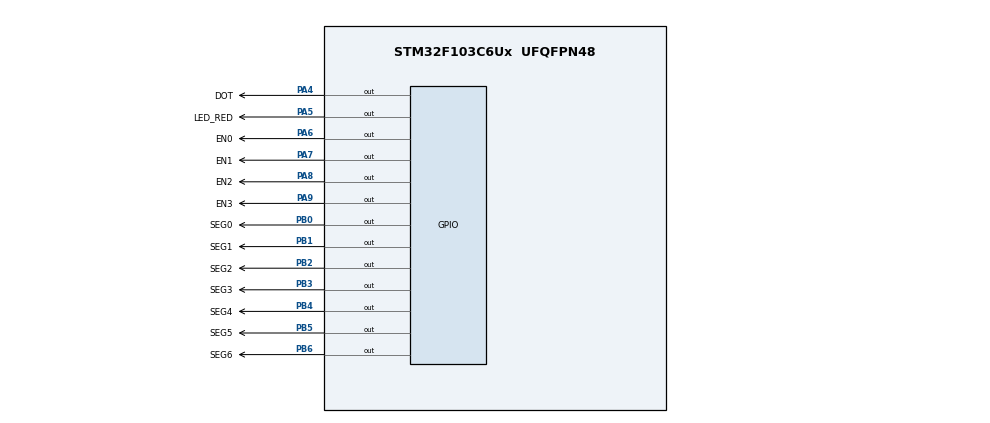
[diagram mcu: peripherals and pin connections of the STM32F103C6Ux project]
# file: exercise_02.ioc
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Mcu.Family=STM32F1
Mcu.Name=STM32F103C6Ux
Mcu.Package=UFQFPN48
NVIC.PriorityGroup=NVIC_PRIORITYGROUP_4
NVIC.TIM2_IRQn=true\:0\:0\:false\:false\:true\:true\:true\:true
PA4.GPIO_Label=DOT
PA4.Signal=GPIO_Output
PA5.GPIO_Label=LED_RED
PA5.Signal=GPIO_Output
PA6.GPIO_Label=EN0
PA6.Signal=GPIO_Output
PA7.GPIO_Label=EN1
PA7.Signal=GPIO_Output
PA8.GPIO_Label=EN2
PA8.Signal=GPIO_Output
PA9.GPIO_Label=EN3
PA9.Signal=GPIO_Output
PB0.GPIO_Label=SEG0
PB0.Signal=GPIO_Output
PB1.GPIO_Label=SEG1
PB1.Signal=GPIO_Output
PB2.GPIO_Label=SEG2
PB2.Signal=GPIO_Output
PB3.GPIO_Label=SEG3
PB3.Signal=GPIO_Output
PB4.GPIO_Label=SEG4
PB4.Signal=GPIO_Output
PB5.GPIO_Label=SEG5
PB5.Signal=GPIO_Output
PB6.GPIO_Label=SEG6
PB6.Signal=GPIO_Output
ProjectManager.HeapSize=0x200
ProjectManager.StackSize=0x400
ProjectManager.TargetToolchain=CMake
RCC.APB1Freq_Value=8000000
RCC.APB2Freq_Value=8000000
TIM2.Prescaler=7999
VP_SYS_VS_ND.Mode=No_Debug
VP_TIM2_VS_ClockSourceINT.Mode=Internal
board=custom

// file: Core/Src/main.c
/* USER CODE BEGIN Header */
/**
 ******************************************************************************
 * @file           : main.c
 * @brief          : Main program body
 ******************************************************************************
 * @attention
 *
 * Copyright (c) 2025 STMicroelectronics.
 * All rights reserved.
 *
 * This software is licensed under terms that can be found in the LICENSE file
 * in the root directory of this software component.
 * If no LICENSE file comes with this software, it is provided AS-IS.
 *
 ******************************************************************************
 */
/* USER CODE END Header */
#include "main.h"

TIM_HandleTypeDef htim2;

/* USER CODE BEGIN PV */
int hour = 11;
int minute = 8;
int second = 0;

const int MAX_LED = 4;
int index_led = 0;
int led_buffer[4] = {0, 0, 0, 0};
/* USER CODE END PV */

void SystemClock_Config(void);
static void MX_GPIO_Init(void);
static void MX_TIM2_Init(void);

/* USER CODE BEGIN 0 */
/**
 * @brief  Displays a single digit (0-9) on a 7-segment display by controlling the segment pins.
 * @param  num: The digit to display (0-9).
 * @retval None
 */
static inline void display7SEG(int num)
{
    switch (num)
    {
    case 0: // A B C D E F ON, G OFF
        HAL_GPIO_WritePin(SEG0_GPIO_Port, SEG0_Pin, GPIO_PIN_RESET);
        HAL_GPIO_WritePin(SEG1_GPIO_Port, SEG1_Pin, GPIO_PIN_RESET);
        HAL_GPIO_WritePin(SEG2_GPIO_Port, SEG2_Pin, GPIO_PIN_RESET);
        HAL_GPIO_WritePin(SEG3_GPIO_Port, SEG3_Pin, GPIO_PIN_RESET);
        HAL_GPIO_WritePin(SEG4_GPIO_Port, SEG4_Pin, GPIO_PIN_RESET);
        HAL_GPIO_WritePin(SEG5_GPIO_Port, SEG5_Pin, GPIO_PIN_RESET);
        HAL_GPIO_WritePin(SEG6_GPIO_Port, SEG6_Pin, GPIO_PIN_SET);
        break;
    case 1: // B C ON
        HAL_GPIO_WritePin(SEG0_GPIO_Port, SEG0_Pin, GPIO_PIN_SET);
        HAL_GPIO_WritePin(SEG1_GPIO_Port, SEG1_Pin, GPIO_PIN_RESET);
        HAL_GPIO_WritePin(SEG2_GPIO_Port, SEG2_Pin, GPIO_PIN_RESET);
        HAL_GPIO_WritePin(SEG3_GPIO_Port, SEG3_Pin, GPIO_PIN_SET);
        HAL_GPIO_WritePin(SEG4_GPIO_Port, SEG4_Pin, GPIO_PIN_SET);
        HAL_GPIO_WritePin(SEG5_GPIO_Port, SEG5_Pin, GPIO_PIN_SET);
        HAL_GPIO_WritePin(SEG6_GPIO_Port, SEG6_Pin, GPIO_PIN_SET);
        break;
    case 2: // A B D E G ON
        HAL_GPIO_WritePin(SEG0_GPIO_Port, SEG0_Pin, GPIO_PIN_RESET);
        HAL_GPIO_WritePin(SEG1_GPIO_Port, SEG1_Pin, GPIO_PIN_RESET);
        HAL_GPIO_WritePin(SEG2_GPIO_Port, SEG2_Pin, GPIO_PIN_SET);
        HAL_GPIO_WritePin(SEG3_GPIO_Port, SEG3_Pin, GPIO_PIN_RESET);
        HAL_GPIO_WritePin(SEG4_GPIO_Port, SEG4_Pin, GPIO_PIN_RESET);
        HAL_GPIO_WritePin(SEG5_GPIO_Port, SEG5_Pin, GPIO_PIN_SET);
        HAL_GPIO_WritePin(SEG6_GPIO_Port, SEG6_Pin, GPIO_PIN_RESET);
        break;
    case 3: // A B C D G ON
        HAL_GPIO_WritePin(SEG0_GPIO_Port, SEG0_Pin, GPIO_PIN_RESET);
        HAL_GPIO_WritePin(SEG1_GPIO_Port, SEG1_Pin, GPIO_PIN_RESET);
        HAL_GPIO_WritePin(SEG2_GPIO_Port, SEG2_Pin, GPIO_PIN_RESET);
        HAL_GPIO_WritePin(SEG3_GPIO_Port, SEG3_Pin, GPIO_PIN_RESET);
        HAL_GPIO_WritePin(SEG4_GPIO_Port, SEG4_Pin, GPIO_PIN_SET);
        HAL_GPIO_WritePin(SEG5_GPIO_Port, SEG5_Pin, GPIO_PIN_SET);
        HAL_GPIO_WritePin(SEG6_GPIO_Port, SEG6_Pin, GPIO_PIN_RESET);
        break;
    case 4: // B C F G ON
        HAL_GPIO_WritePin(SEG0_GPIO_Port, SEG0_Pin, GPIO_PIN_SET);
        HAL_GPIO_WritePin(SEG1_GPIO_Port, SEG1_Pin, GPIO_PIN_RESET);
        HAL_GPIO_WritePin(SEG2_GPIO_Port, SEG2_Pin, GPIO_PIN_RESET);
        HAL_GPIO_WritePin(SEG3_GPIO_Port, SEG3_Pin, GPIO_PIN_SET);
        HAL_GPIO_WritePin(SEG4_GPIO_Port, SEG4_Pin, GPIO_PIN_SET);
        HAL_GPIO_WritePin(SEG5_GPIO_Port, SEG5_Pin, GPIO_PIN_RESET);
        HAL_GPIO_WritePin(SEG6_GPIO_Port, SEG6_Pin, GPIO_PIN_RESET);
        break;
    case 5: // A C D F G ON
        HAL_GPIO_WritePin(SEG0_GPIO_Port, SEG0_Pin, GPIO_PIN_RESET);
        HAL_GPIO_WritePin(SEG1_GPIO_Port, SEG1_Pin, GPIO_PIN_SET);
        HAL_GPIO_WritePin(SEG2_GPIO_Port, SEG2_Pin, GPIO_PIN_RESET);
        HAL_GPIO_WritePin(SEG3_GPIO_Port, SEG3_Pin, GPIO_PIN_RESET);
        HAL_GPIO_WritePin(SEG4_GPIO_Port, SEG4_Pin, GPIO_PIN_SET);
        HAL_GPIO_WritePin(SEG5_GPIO_Port, SEG5_Pin, GPIO_PIN_RESET);
        HAL_GPIO_WritePin(SEG6_GPIO_Port, SEG6_Pin, GPIO_PIN_RESET);
        break;
    case 6: // A C D E F G ON
        HAL_GPIO_WritePin(SEG0_GPIO_Port, SEG0_Pin, GPIO_PIN_RESET);
        HAL_GPIO_WritePin(SEG1_GPIO_Port, SEG1_Pin, GPIO_PIN_SET);
        HAL_GPIO_WritePin(SEG2_GPIO_Port, SEG2_Pin, GPIO_PIN_RESET);
        HAL_GPIO_WritePin(SEG3_GPIO_Port, SEG3_Pin, GPIO_PIN_RESET);
        HAL_GPIO_WritePin(SEG4_GPIO_Port, SEG4_Pin, GPIO_PIN_RESET);
        HAL_GPIO_WritePin(SEG5_GPIO_Port, SEG5_Pin, GPIO_PIN_RESET);
        HAL_GPIO_WritePin(SEG6_GPIO_Port, SEG6_Pin, GPIO_PIN_RESET);
        break;
    case 7: // A B C ON
        HAL_GPIO_WritePin(SEG0_GPIO_Port, SEG0_Pin, GPIO_PIN_RESET);
        HAL_GPIO_WritePin(SEG1_GPIO_Port, SEG1_Pin, GPIO_PIN_RESET);
        HAL_GPIO_WritePin(SEG2_GPIO_Port, SEG2_Pin, GPIO_PIN_RESET);
        HAL_GPIO_WritePin(SEG3_GPIO_Port, SEG3_Pin, GPIO_PIN_SET);
        HAL_GPIO_WritePin(SEG4_GPIO_Port, SEG4_Pin, GPIO_PIN_SET);
        HAL_GPIO_WritePin(SEG5_GPIO_Port, SEG5_Pin, GPIO_PIN_SET);
        HAL_GPIO_WritePin(SEG6_GPIO_Port, SEG6_Pin, GPIO_PIN_SET);
        break;
    case 8: // A B C D E F G ON
        HAL_GPIO_WritePin(SEG0_GPIO_Port, SEG0_Pin, GPIO_PIN_RESET);
        HAL_GPIO_WritePin(SEG1_GPIO_Port, SEG1_Pin, GPIO_PIN_RESET);
        HAL_GPIO_WritePin(SEG2_GPIO_Port, SEG2_Pin, GPIO_PIN_RESET);
        HAL_GPIO_WritePin(SEG3_GPIO_Port, SEG3_Pin, GPIO_PIN_RESET);
        HAL_GPIO_WritePin(SEG4_GPIO_Port, SEG4_Pin, GPIO_PIN_RESET);
        HAL_GPIO_WritePin(SEG5_GPIO_Port, SEG5_Pin, GPIO_PIN_RESET);
        HAL_GPIO_WritePin(SEG6_GPIO_Port, SEG6_Pin, GPIO_PIN_RESET);
        break;
    case 9: // A B C D F G ON
        HAL_GPIO_WritePin(SEG0_GPIO_Port, SEG0_Pin, GPIO_PIN_RESET);
        HAL_GPIO_WritePin(SEG1_GPIO_Port, SEG1_Pin, GPIO_PIN_RESET);
        HAL_GPIO_WritePin(SEG2_GPIO_Port, SEG2_Pin, GPIO_PIN_RESET);
        HAL_GPIO_WritePin(SEG3_GPIO_Port, SEG3_Pin, GPIO_PIN_RESET);
        HAL_GPIO_WritePin(SEG4_GPIO_Port, SEG4_Pin, GPIO_PIN_SET);
        HAL_GPIO_WritePin(SEG5_GPIO_Port, SEG5_Pin, GPIO_PIN_RESET);
        HAL_GPIO_WritePin(SEG6_GPIO_Port, SEG6_Pin, GPIO_PIN_RESET);
        break;
    default: // All OFF
        HAL_GPIO_WritePin(SEG0_GPIO_Port, SEG0_Pin, GPIO_PIN_SET);
        HAL_GPIO_WritePin(SEG1_GPIO_Port, SEG1_Pin, GPIO_PIN_SET);
        HAL_GPIO_WritePin(SEG2_GPIO_Port, SEG2_Pin, GPIO_PIN_SET);
        HAL_GPIO_WritePin(SEG3_GPIO_Port, SEG3_Pin, GPIO_PIN_SET);
        HAL_GPIO_WritePin(SEG4_GPIO_Port, SEG4_Pin, GPIO_PIN_SET);
        HAL_GPIO_WritePin(SEG5_GPIO_Port, SEG5_Pin, GPIO_PIN_SET);
        HAL_GPIO_WritePin(SEG6_GPIO_Port, SEG6_Pin, GPIO_PIN_SET);
        break;
    }
}

/**
 * @brief  Disables all 7-segment displays by setting their enable pins high.
 * @retval None
 */
static inline void disable_all_7seg(void)
{
    HAL_GPIO_WritePin(EN0_GPIO_Port, EN0_Pin, GPIO_PIN_SET);
    HAL_GPIO_WritePin(EN1_GPIO_Port, EN1_Pin, GPIO_PIN_SET);
    HAL_GPIO_WritePin(EN2_GPIO_Port, EN2_Pin, GPIO_PIN_SET);
    HAL_GPIO_WritePin(EN3_GPIO_Port, EN3_Pin, GPIO_PIN_SET);
}

/**
 * @brief  Enables the specified 7-segment display based on the given index.
 * @param  idx: The index of the 7-segment display to enable (0 to 3).
 * @retval None
 */
static inline void enable_7seg_idx(uint8_t idx)
{
    switch (idx)
    {
    case 0:
        HAL_GPIO_WritePin(EN0_GPIO_Port, EN0_Pin, GPIO_PIN_RESET);
        break;
    case 1:
        HAL_GPIO_WritePin(EN1_GPIO_Port, EN1_Pin, GPIO_PIN_RESET);
        break;
    case 2:
        HAL_GPIO_WritePin(EN2_GPIO_Port, EN2_Pin, GPIO_PIN_RESET);
        break;
    case 3:
        HAL_GPIO_WritePin(EN3_GPIO_Port, EN3_Pin, GPIO_PIN_RESET);
        break;
    }
}

/**
 * @brief  Updates the specified 7-segment display with the corresponding value from led_buffer.
 * @param  index: The index of the 7-segment display to update (0 to 3).
 * @retval None
 */
void update7SEG(int index)
{
    // First, turn off all segment drivers to prevent "ghosting"
    disable_all_7seg();

    // Use the index to select which 7-segment display to activate
    // and which number from the buffer to show.
    switch (index)
    {
    case 0:
        // Display the first number (led_buffer[0]) on the first 7-segment display
        display7SEG(led_buffer[0]);
        enable_7seg_idx(0);
        break;

    case 1:
        // Display the second number (led_buffer[1]) on the second 7-segment display
        display7SEG(led_buffer[1]);
        enable_7seg_idx(1);
        break;

    case 2:
        // Display the third number (led_buffer[2]) on the third 7-segment display
        display7SEG(led_buffer[2]);
        enable_7seg_idx(2);
        break;

    case 3:
        // Display the fourth number (led_buffer[3]) on the fourth 7-segment display
        display7SEG(led_buffer[3]);
        enable_7seg_idx(3);
        break;

    default:
        break;
    }
}

/**
 * @brief  Populates the led_buffer array with the correct digits for the clock.
 * @retval None
 */
void updateClockBuffer()
{
    led_buffer[0] = hour / 10;
    led_buffer[1] = hour % 10;

    led_buffer[2] = minute / 10;
    led_buffer[3] = minute % 10;
}

int timer_counter = 0;
int timer0_flag = 0;
int TIMER_PERIOD = 10;

void setTimer0(int duration)
{
    timer_counter = duration / TIMER_PERIOD;
    timer0_flag = 0;
}

void timer_run(void)
{
    if (timer_counter > 0)
    {
        timer_counter--;
        if (timer_counter == 0)
        {
            timer0_flag = 1;
        }
    }
}

/* USER CODE END 0 */

int main(void)
{

    /* MCU Configuration--------------------------------------------------------*/

    /* Reset of all peripherals, Initializes the Flash interface and the Systick. */
    HAL_Init();

    /* Configure the system clock */
    SystemClock_Config();

    /* Initialize all configured peripherals */
    MX_GPIO_Init();
    MX_TIM2_Init();

    /* USER CODE BEGIN 2 */
    HAL_TIM_Base_Start_IT(&htim2);
    updateClockBuffer();
    update7SEG(index_led);
    /* USER CODE END 2 */

    /* Infinite loop */
    /* USER CODE BEGIN WHILE */
    setTimer0(1000);
    while (1)
    {
        /* USER CODE END WHILE */

        /* USER CODE BEGIN 3 */
        if (timer0_flag == 1)
        {
            setTimer0(1000);
            second++;

            if (second >= 60)
            {
                second = 0;
                minute++;
            }
            if (minute >= 60)
            {
                minute = 0;
                hour++;
            }
            if (hour >= 24)
            {
                hour = 0;
            }

            updateClockBuffer();

            index_led = (index_led + 1) % MAX_LED;

            HAL_GPIO_TogglePin(DOT_GPIO_Port, DOT_Pin);
        }
    }
    /* USER CODE END 3 */
}

void SystemClock_Config(void)
{
    RCC_OscInitTypeDef RCC_OscInitStruct = {0};
    RCC_ClkInitTypeDef RCC_ClkInitStruct = {0};

    /** Initializes the RCC Oscillators according to the specified parameters
     * in the RCC_OscInitTypeDef structure.
     */
    RCC_OscInitStruct.OscillatorType = RCC_OSCILLATORTYPE_HSI;
    RCC_OscInitStruct.HSIState = RCC_HSI_ON;
    RCC_OscInitStruct.HSICalibrationValue = RCC_HSICALIBRATION_DEFAULT;
    RCC_OscInitStruct.PLL.PLLState = RCC_PLL_NONE;
    if (HAL_RCC_OscConfig(&RCC_OscInitStruct) != HAL_OK)
    {
        Error_Handler();
    }

    /** Initializes the CPU, AHB and APB buses clocks
     */
    RCC_ClkInitStruct.ClockType = RCC_CLOCKTYPE_HCLK | RCC_CLOCKTYPE_SYSCLK | RCC_CLOCKTYPE_PCLK1 | RCC_CLOCKTYPE_PCLK2;
    RCC_ClkInitStruct.SYSCLKSource = RCC_SYSCLKSOURCE_HSI;
    RCC_ClkInitStruct.AHBCLKDivider = RCC_SYSCLK_DIV1;
    RCC_ClkInitStruct.APB1CLKDivider = RCC_HCLK_DIV1;
    RCC_ClkInitStruct.APB2CLKDivider = RCC_HCLK_DIV1;

    if (HAL_RCC_ClockConfig(&RCC_ClkInitStruct, FLASH_LATENCY_0) != HAL_OK)
    {
        Error_Handler();
    }
}

static void MX_TIM2_Init(void)
{

    TIM_ClockConfigTypeDef sClockSourceConfig = {0};
    TIM_MasterConfigTypeDef sMasterConfig = {0};

    htim2.Instance = TIM2;
    htim2.Init.Prescaler = 7999;
    htim2.Init.CounterMode = TIM_COUNTERMODE_UP;
    htim2.Init.Period = 9;
    htim2.Init.ClockDivision = TIM_CLOCKDIVISION_DIV1;
    htim2.Init.AutoReloadPreload = TIM_AUTORELOAD_PRELOAD_DISABLE;
    if (HAL_TIM_Base_Init(&htim2) != HAL_OK)
    {
        Error_Handler();
    }
    sClockSourceConfig.ClockSource = TIM_CLOCKSOURCE_INTERNAL;
    if (HAL_TIM_ConfigClockSource(&htim2, &sClockSourceConfig) != HAL_OK)
    {
        Error_Handler();
    }
    sMasterConfig.MasterOutputTrigger = TIM_TRGO_RESET;
    sMasterConfig.MasterSlaveMode = TIM_MASTERSLAVEMODE_DISABLE;
    if (HAL_TIMEx_MasterConfigSynchronization(&htim2, &sMasterConfig) != HAL_OK)
    {
        Error_Handler();
    }
}

static void MX_GPIO_Init(void)
{
    GPIO_InitTypeDef GPIO_InitStruct = {0};

    /* GPIO Ports Clock Enable */
    __HAL_RCC_GPIOA_CLK_ENABLE();
    __HAL_RCC_GPIOB_CLK_ENABLE();

    /*Configure GPIO pin Output Level */
    HAL_GPIO_WritePin(GPIOA, LED_RED_Pin | EN0_Pin | EN1_Pin | EN2_Pin | EN3_Pin | DOT_Pin, GPIO_PIN_SET);

    /*Configure GPIO pin Output Level */
    HAL_GPIO_WritePin(GPIOB, SEG0_Pin | SEG1_Pin | SEG2_Pin | SEG3_Pin | SEG4_Pin | SEG5_Pin | SEG6_Pin, GPIO_PIN_SET);

    /*Configure GPIO pins : LED_RED_Pin EN0_Pin EN1_Pin */
    GPIO_InitStruct.Pin = LED_RED_Pin | EN0_Pin | EN1_Pin | EN2_Pin | EN3_Pin | DOT_Pin;
    GPIO_InitStruct.Mode = GPIO_MODE_OUTPUT_PP;
    GPIO_InitStruct.Pull = GPIO_NOPULL;
    GPIO_InitStruct.Speed = GPIO_SPEED_FREQ_LOW;
    HAL_GPIO_Init(GPIOA, &GPIO_InitStruct);

    /*Configure GPIO pins : SEG0_Pin SEG1_Pin SEG2_Pin SEG3_Pin
                             SEG4_Pin SEG5_Pin SEG6_Pin */
    GPIO_InitStruct.Pin = SEG0_Pin | SEG1_Pin | SEG2_Pin | SEG3_Pin | SEG4_Pin | SEG5_Pin | SEG6_Pin;
    GPIO_InitStruct.Mode = GPIO_MODE_OUTPUT_PP;
    GPIO_InitStruct.Pull = GPIO_NOPULL;
    GPIO_InitStruct.Speed = GPIO_SPEED_FREQ_LOW;
    HAL_GPIO_Init(GPIOB, &GPIO_InitStruct);

}

/* USER CODE BEGIN 4 */
void HAL_TIM_PeriodElapsedCallback(TIM_HandleTypeDef *htim)
{
    if (htim->Instance == TIM2)
    {
        timer_run();
        update7SEG(index_led);
    }
}

/* USER CODE END 4 */

void Error_Handler(void)
{
    __disable_irq();
    while (1)
    {
    }
}
